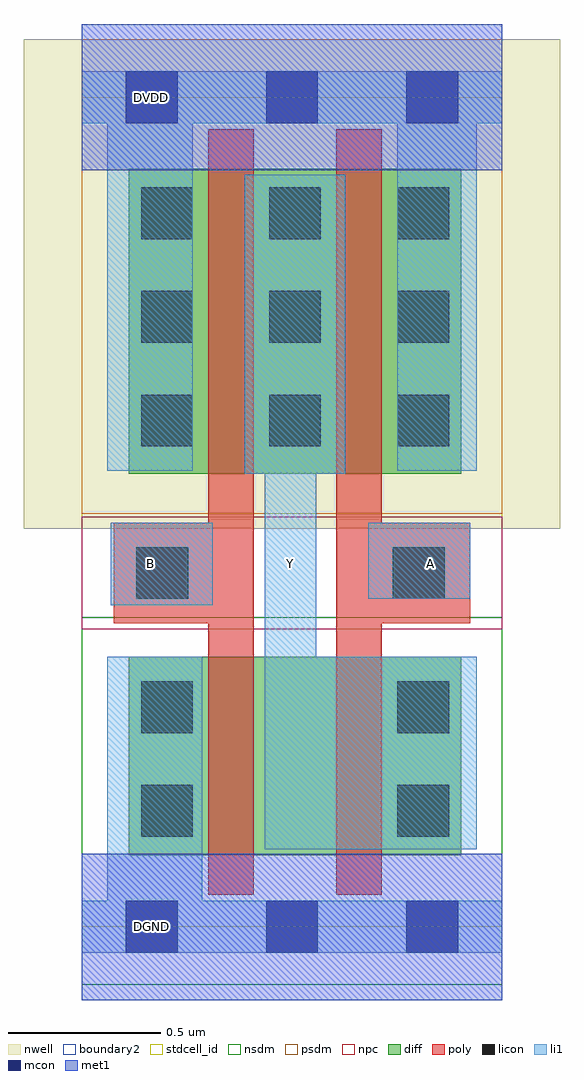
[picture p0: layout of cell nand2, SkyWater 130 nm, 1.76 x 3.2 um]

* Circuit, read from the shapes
.subckt nand2 A B DGND DVDD Y
XM1 n1 B DGND VSUBS sky130_fd_pr__nfet_01v8 w=0.65 l=0.15
XM2 Y A n1 VSUBS sky130_fd_pr__nfet_01v8 w=0.65 l=0.15
XM3 Y B DVDD n2 sky130_fd_pr__pfet_01v8 w=1 l=0.15
XM4 DVDD A Y n2 sky130_fd_pr__pfet_01v8 w=1 l=0.15
.ends

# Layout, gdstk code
import gdstk
lib = gdstk.Library(unit=1e-6, precision=1e-09)
def R(c, l, rs):  # rectangles x0, y0, x1, y1
    for r in rs: c.add(gdstk.rectangle(r[:2], r[2:], *l))
def A(c, l, x, y, w, h, nx, ny, dx, dy):  # array of equal rectangles
    R(c, l, [(x+i*dx, y+j*dy, x+i*dx+w, y+j*dy+h) for i in range(nx) for j in range(ny)])
def P(c, l, *ps):  # polygons
    for p in ps: c.add(gdstk.Polygon(p, *l))
nwell = (64, 20)
diff = (65, 20)
poly = (66, 20)
licon = (66, 44)
li1 = (67, 20)
mcon = (67, 44)
met1 = (68, 20)
stdcell_id = (81, 4)
nsdm = (93, 44)
psdm = (94, 20)
npc = (95, 20)
boundary2 = (236, 0)

nand2 = lib.new_cell('nand2')
R(nand2, nwell, [(-0.19,1.305,1.57,2.91)])
R(nand2, diff, [(0.155,0.235,1.245,0.885), (0.155,1.485,1.245,2.485)])
P(nand2, poly, [(0.835,0.105),(0.835,2.615),(0.985,2.615),(0.985,1.325),(1.275,1.325),(1.275,0.995),(0.985,0.995),(0.985,0.105)],
  [(0.415,0.105),(0.415,0.995),(0.105,0.995),(0.105,1.325),(0.415,1.325),(0.415,2.615),(0.565,2.615),(0.565,0.105)])
A(nand2, licon, 0.195, 1.575, 0.17, 0.17, 3, 3, 0.42, 0.34)
R(nand2, licon, [(0.195,0.295,0.365,0.465), (1.035,0.295,1.205,0.465), (0.195,0.635,0.365,0.805), (1.035,0.635,1.205,0.805), (0.18,1.075,0.35,1.245), (1.02,1.075,1.19,1.245)])
R(nand2, li1, [(0.095,1.055,0.43,1.325), (0.94,1.075,1.275,1.325)])
P(nand2, li1, [(0,-0.085),(0,0.085),(0.085,0.085),(0.085,0.885),(0.395,0.885),(0.395,0.085),(1.38,0.085),(1.38,-0.085)],
  [(0.085,1.495),(0.085,2.635),(0,2.635),(0,2.805),(1.38,2.805),(1.38,2.635),(1.295,2.635),(1.295,1.495),(1.035,1.495),(1.035,2.635),(0.365,2.635),(0.365,1.495)],
  [(0.6,0.255),(0.6,1.485),(0.535,1.485),(0.535,2.465),(0.865,2.465),(0.865,1.485),(0.77,1.485),(0.77,0.885),(1.295,0.885),(1.295,0.255)])
A(nand2, mcon, 0.145, -0.085, 0.17, 0.17, 3, 2, 0.46, 2.72)
R(nand2, stdcell_id, [(0,0,1.38,2.72)])
R(nand2, nsdm, [(0,-0.19,1.38,1.015)])
R(nand2, psdm, [(0,1.355,1.38,2.91)])
R(nand2, npc, [(0,0.975,1.38,1.345)])
R(nand2, boundary2, [(0,0,1.38,2.72)])
nand2.add(gdstk.FlexPath([(0,2.72),(1.38,2.72)], 0.48, ends="flush", simple_path=True, layer=68, datatype=20))  # met1
nand2.add(gdstk.FlexPath([(0,0),(1.38,0)], 0.48, ends="flush", simple_path=True, layer=68, datatype=20))  # met1
nand2.add(gdstk.Label('Y', (0.685,1.19), layer=67, texttype=5))
nand2.add(gdstk.Label('B', (0.225,1.19), layer=67, texttype=5))
nand2.add(gdstk.Label('A', (1.145,1.19), layer=67, texttype=5))
nand2.add(gdstk.Label('DVDD', (0.23,2.72), layer=68, texttype=5))
nand2.add(gdstk.Label('DGND', (0.23,0), layer=68, texttype=5))

lib.write_gds('nand2.gds')
